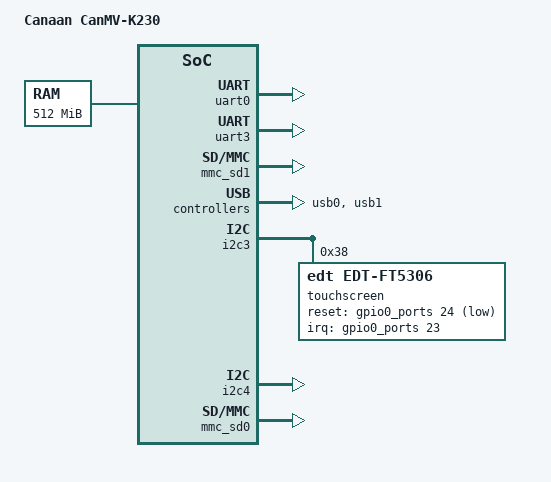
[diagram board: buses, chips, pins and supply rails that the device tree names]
// SPDX-License-Identifier: GPL-2.0 OR MIT
/*
 * Copyright (C) 2024 Yangyu Chen <cyy@cyyself.name>
 */

#include "k230.dtsi"
#include "display-st7701-480x800.dtsi"

/ {
	model = "Canaan CanMV-K230";
	compatible = "canaan,canmv-k230", "canaan,kendryte-k230","k230_canmv_lckfb";

	aliases {
		serial3 = &uart3;
		mmc0 = &mmc_sd0;
		mmc1 = &mmc_sd1;
		i2c0 = &i2c4;
		i2c1 = &i2c3;
	};

	chosen {
		stdout-path = "serial0:115200n8";
	};

	ddr: memory@0 {
		device_type = "memory";
		reg = <0x0 0x0 0x0 0x20000000>;
	};

	sound {
		status                      = "okay";
		compatible                  = "canaan,k230-audio-inno";
		canaan,model                = "K230_I2S_INNO";
		canaan,k230-i2s-controller  = <&i2s>;
		canaan,k230-audio-codec     = <&inno_codec>;
	};
};

&uart0 {
	status = "okay";
};
&uart3 {
	status = "okay";
};
&mmc_sd1{
	status = "okay";
	no-1-8-v;
	cap-sd-highspeed;
	mshc_ctrl_r = <0x00>;
};

&usb0 {
	status = "okay";
};
&usb1 {
	status = "okay";
};

&i2c3 {
	status = "okay";
	touchscreen@38 {
		compatible = "edt,edt-ft5306";
		reg = <0x38>;
		reset-gpios = <&gpio0_ports 24 GPIO_ACTIVE_LOW>;
		interrupt-parent = <&gpio0_ports>;
		interrupts = <23 IRQ_TYPE_EDGE_FALLING>;
		touchscreen-size-x = <480>;
		touchscreen-size-y = <800>;
	};
};

&i2c4 {
	status = "okay";
};
&mipi0
{
	// set to csi2
	id = <2>;
	reg = <0x0 0x9000a800 0x0 0x800>;
	interrupts = <121 IRQ_TYPE_LEVEL_HIGH>;
	resets = <&sysctl_reset K230_RESET_CSI2_REG_OFFSET K230_RESET_CSI2_TYPE
			  K230_RESET_CSI2_DONE_BIT K230_RESET_CSI2_ASSERT_BIT>,
	<&sysctl_reset K230_RESET_M2_REG_OFFSET K230_RESET_M2_TYPE
		 K230_RESET_M2_DONE_BIT K230_RESET_M2_ASSERT_BIT>;
	reset-gpios = <&gpio0_ports 13 GPIO_ACTIVE_HIGH>;
};


&lcd {
	dsi_reset-gpios = <&gpio0_ports 22 GPIO_ACTIVE_HIGH>;
	backlight_gpio-gpios = <&gpio0_ports 25 GPIO_ACTIVE_HIGH>;
	panel-init-sequence = [
			05 00 01 01
			05 10 01 11
			39 00 06 FF 77 01 00 00 11
			15 00 02 D1 11
			15 00 02 55 B0
			39 00 06 FF 77 01 00 00 10
			39 00 03 C0 63 00
			39 00 03 C1 04 02
			39 00 03 C2 37 08
			15 00 02 C7 00
			15 00 02 CC 38
			39 00 11 B0 00 11 19 0C 10 06 07 0A 09 22 04 10 0E 28 30 1C
			39 00 11 B1 00 12 19 0D 10 04 06 07 08 23 04 12 11 28 30 1C
			39 00 06 FF 77 01 00 00 11
			15 00 02 B0 4D
			15 00 02 B1 60
			15 00 02 B2 07
			15 00 02 B3 80
			15 00 02 B5 47
			15 00 02 B7 8A
			15 00 02 B8 21
			15 00 02 C1 78
			15 00 02 C2 78
			15 00 02 D0 88
			39 10 04 E0 00 00 02
			39 00 0C E1 01 A0 03 A0 02 A0 04 A0 00 44 44
			39 00 0C E2 00 00 00 00 00 00 00 00 00 00 00
			39 00 05 E3 00 00 33 33
			39 00 03 E4 44 44
			39 00 11 E5 01 26 A0 A0 03 28 A0 A0 05 2A A0 A0 07 2C A0 A0
			39 00 05 E6 00 00 33 33
			39 00 03 E7 44 44
			39 00 11 E8 02 26 A0 A0 04 28 A0 A0 06 2A A0 A0 08 2C A0 A0
			39 00 08 EB 00 01 E4 E4 44 00 40
			39 00 11 ED FF F7 65 4F 0B A1 CF FF FF FC 1A B0 F4 56 7F FF
			15 00 02 EE 42
			39 00 06 FF 77 01 00 00 00
			15 00 02 36 00
			15 00 02 3A 55
			05 10 01 11
			05 00 01 29
		];
		display-timings {
			timing-0 {
				clock-frequency = <24750000>;
				hactive = <480>;
				vactive = <800>;
				hfront-porch = <32>;
				hback-porch = <32>;
				hsync-len = <8>;
				vfront-porch = <140>;
				vback-porch = <150>;
				vsync-len = <10>;
			};
		};

};
&mmc_sd0 {
	status = "okay";
	no-1-8-v;
	rx_delay_line = <0x0d>;
	tx_delay_line = <0xc0>;
};
